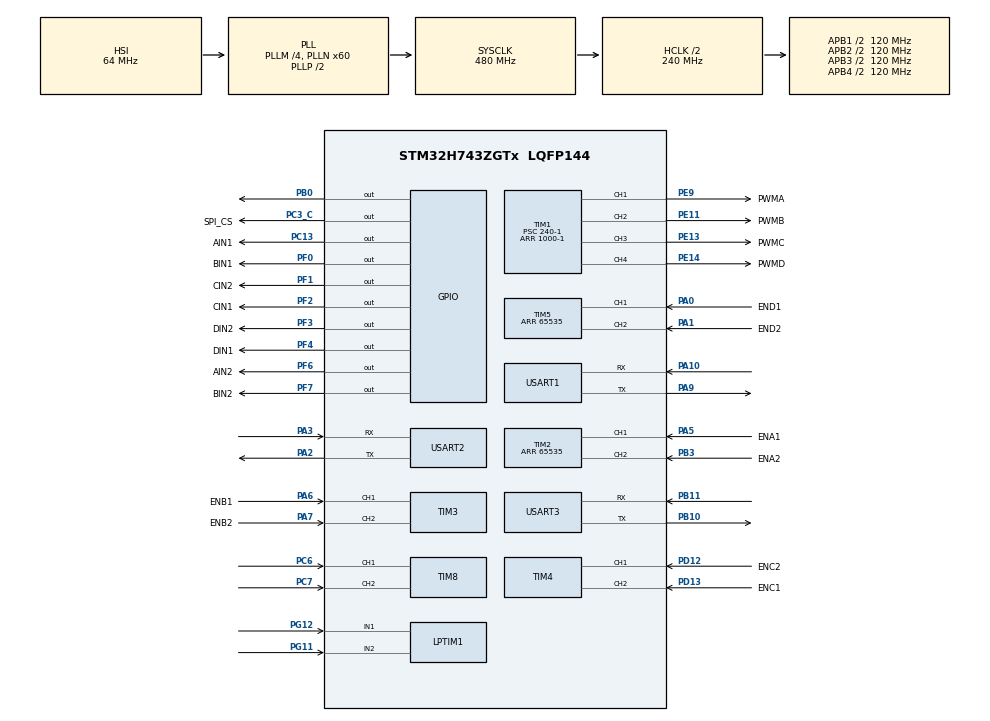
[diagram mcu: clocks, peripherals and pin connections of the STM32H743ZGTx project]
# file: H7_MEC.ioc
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CORTEX_M7.default_mode_Activation=0
Dma.Request0=USART1_RX
Dma.Request1=USART1_TX
Dma.Request2=USART3_RX
Dma.Request3=USART3_TX
Dma.USART1_RX.0.Direction=DMA_PERIPH_TO_MEMORY
Dma.USART1_RX.0.EventEnable=DISABLE
Dma.USART1_RX.0.FIFOMode=DMA_FIFOMODE_DISABLE
Dma.USART1_RX.0.Instance=DMA1_Stream0
Dma.USART1_RX.0.MemDataAlignment=DMA_MDATAALIGN_BYTE
Dma.USART1_RX.0.MemInc=DMA_MINC_ENABLE
Dma.USART1_RX.0.Mode=DMA_NORMAL
Dma.USART1_RX.0.PeriphDataAlignment=DMA_PDATAALIGN_BYTE
Dma.USART1_RX.0.PeriphInc=DMA_PINC_DISABLE
Dma.USART1_RX.0.Polarity=HAL_DMAMUX_REQ_GEN_RISING
Dma.USART1_RX.0.Priority=DMA_PRIORITY_LOW
Dma.USART1_RX.0.RequestNumber=1
Dma.USART1_RX.0.SignalID=NONE
Dma.USART1_RX.0.SyncEnable=DISABLE
Dma.USART1_RX.0.SyncPolarity=HAL_DMAMUX_SYNC_NO_EVENT
Dma.USART1_RX.0.SyncRequestNumber=1
Dma.USART1_RX.0.SyncSignalID=NONE
Dma.USART1_TX.1.Direction=DMA_MEMORY_TO_PERIPH
Dma.USART1_TX.1.EventEnable=DISABLE
Dma.USART1_TX.1.FIFOMode=DMA_FIFOMODE_DISABLE
Dma.USART1_TX.1.Instance=DMA1_Stream1
Dma.USART1_TX.1.MemDataAlignment=DMA_MDATAALIGN_BYTE
Dma.USART1_TX.1.MemInc=DMA_MINC_ENABLE
Dma.USART1_TX.1.Mode=DMA_NORMAL
Dma.USART1_TX.1.PeriphDataAlignment=DMA_PDATAALIGN_BYTE
Dma.USART1_TX.1.PeriphInc=DMA_PINC_DISABLE
Dma.USART1_TX.1.Polarity=HAL_DMAMUX_REQ_GEN_RISING
Dma.USART1_TX.1.Priority=DMA_PRIORITY_LOW
Dma.USART1_TX.1.RequestNumber=1
Dma.USART1_TX.1.SignalID=NONE
Dma.USART1_TX.1.SyncEnable=DISABLE
Dma.USART1_TX.1.SyncPolarity=HAL_DMAMUX_SYNC_NO_EVENT
Dma.USART1_TX.1.SyncRequestNumber=1
Dma.USART1_TX.1.SyncSignalID=NONE
Dma.USART3_RX.2.Direction=DMA_PERIPH_TO_MEMORY
Dma.USART3_RX.2.EventEnable=DISABLE
Dma.USART3_RX.2.FIFOMode=DMA_FIFOMODE_DISABLE
Dma.USART3_RX.2.Instance=DMA2_Stream0
Dma.USART3_RX.2.MemDataAlignment=DMA_MDATAALIGN_BYTE
Dma.USART3_RX.2.MemInc=DMA_MINC_ENABLE
Dma.USART3_RX.2.Mode=DMA_NORMAL
Dma.USART3_RX.2.PeriphDataAlignment=DMA_PDATAALIGN_BYTE
Dma.USART3_RX.2.PeriphInc=DMA_PINC_DISABLE
Dma.USART3_RX.2.Polarity=HAL_DMAMUX_REQ_GEN_RISING
Dma.USART3_RX.2.Priority=DMA_PRIORITY_LOW
Dma.USART3_RX.2.RequestNumber=1
Dma.USART3_RX.2.SignalID=NONE
Dma.USART3_RX.2.SyncEnable=DISABLE
Dma.USART3_RX.2.SyncPolarity=HAL_DMAMUX_SYNC_NO_EVENT
Dma.USART3_RX.2.SyncRequestNumber=1
Dma.USART3_RX.2.SyncSignalID=NONE
Dma.USART3_TX.3.Direction=DMA_MEMORY_TO_PERIPH
Dma.USART3_TX.3.EventEnable=DISABLE
Dma.USART3_TX.3.FIFOMode=DMA_FIFOMODE_DISABLE
Dma.USART3_TX.3.Instance=DMA2_Stream1
Dma.USART3_TX.3.MemDataAlignment=DMA_MDATAALIGN_BYTE
Dma.USART3_TX.3.MemInc=DMA_MINC_ENABLE
Dma.USART3_TX.3.Mode=DMA_NORMAL
Dma.USART3_TX.3.PeriphDataAlignment=DMA_PDATAALIGN_BYTE
Dma.USART3_TX.3.PeriphInc=DMA_PINC_DISABLE
Dma.USART3_TX.3.Polarity=HAL_DMAMUX_REQ_GEN_RISING
Dma.USART3_TX.3.Priority=DMA_PRIORITY_LOW
Dma.USART3_TX.3.RequestNumber=1
Dma.USART3_TX.3.SignalID=NONE
Dma.USART3_TX.3.SyncEnable=DISABLE
Dma.USART3_TX.3.SyncPolarity=HAL_DMAMUX_SYNC_NO_EVENT
Dma.USART3_TX.3.SyncRequestNumber=1
Dma.USART3_TX.3.SyncSignalID=NONE
Mcu.Family=STM32H7
Mcu.Name=STM32H743ZGTx
Mcu.Package=LQFP144
NVIC.DMA1_Stream0_IRQn=true\:0\:0\:false\:false\:true\:false\:true\:true
NVIC.DMA1_Stream1_IRQn=true\:0\:0\:false\:false\:true\:false\:true\:true
NVIC.DMA2_Stream0_IRQn=true\:0\:0\:false\:false\:true\:false\:true\:true
NVIC.DMA2_Stream1_IRQn=true\:0\:0\:false\:false\:true\:false\:true\:true
NVIC.PriorityGroup=NVIC_PRIORITYGROUP_4
NVIC.TIM6_DAC_IRQn=true\:4\:0\:true\:false\:true\:true\:true\:true
NVIC.USART1_IRQn=true\:1\:0\:true\:false\:true\:true\:true\:true
NVIC.USART3_IRQn=true\:1\:0\:true\:false\:true\:true\:true\:true
PA0.GPIO_Label=END1
PA0.Signal=S_TIM5_CH1
PA1.GPIO_Label=END2
PA1.Signal=S_TIM5_CH2
PA10.Mode=Asynchronous
PA10.Signal=USART1_RX
PA13\ (JTMS/SWDIO).Mode=Serial_Wire
PA13\ (JTMS/SWDIO).Signal=DEBUG_JTMS-SWDIO
PA14\ (JTCK/SWCLK).Mode=Serial_Wire
PA14\ (JTCK/SWCLK).Signal=DEBUG_JTCK-SWCLK
PA2.Mode=Asynchronous
PA2.Signal=USART2_TX
PA3.Mode=Asynchronous
PA3.Signal=USART2_RX
PA5.GPIO_Label=ENA1
PA5.Signal=S_TIM2_CH1_ETR
PA6.GPIO_Label=ENB1
PA6.Signal=S_TIM3_CH1
PA7.GPIO_Label=ENB2
PA7.Signal=S_TIM3_CH2
PA9.Mode=Asynchronous
PA9.Signal=USART1_TX
PB0.Signal=GPIO_Output
PB10.Mode=Asynchronous
PB10.Signal=USART3_TX
PB11.Mode=Asynchronous
PB11.Signal=USART3_RX
PB3\ (JTDO/TRACESWO).GPIO_Label=ENA2
PB3\ (JTDO/TRACESWO).Signal=S_TIM2_CH2
PC13.GPIO_Label=AIN1
PC13.Signal=GPIO_Output
PC3_C.GPIO_Label=SPI_CS
PC3_C.GPIO_PuPd=GPIO_NOPULL
PC3_C.Signal=GPIO_Output
PC6.Signal=S_TIM8_CH1
PC7.Signal=S_TIM8_CH2
PD12.GPIO_Label=ENC2
PD12.Signal=S_TIM4_CH1
PD13.GPIO_Label=ENC1
PD13.Signal=S_TIM4_CH2
PE11.GPIO_Label=PWMB
PE11.Signal=S_TIM1_CH2
PE13.GPIO_Label=PWMC
PE13.Signal=S_TIM1_CH3
PE14.GPIO_Label=PWMD
PE14.Signal=S_TIM1_CH4
PE9.GPIO_Label=PWMA
PE9.Signal=S_TIM1_CH1
PF0.GPIO_Label=BIN1
PF0.Signal=GPIO_Output
PF1.GPIO_Label=CIN2
PF1.Signal=GPIO_Output
PF2.GPIO_Label=CIN1
PF2.Signal=GPIO_Output
PF3.GPIO_Label=DIN2
PF3.Signal=GPIO_Output
PF4.GPIO_Label=DIN1
PF4.Signal=GPIO_Output
PF6.GPIO_Label=AIN2
PF6.Signal=GPIO_Output
PF7.GPIO_Label=BIN2
PF7.Signal=GPIO_Output
PG11.Mode=Encoder_mode_occur1
PG11.Signal=LPTIM1_IN2
PG12.Mode=Encoder_mode_occur1
PG12.Signal=LPTIM1_IN1
PH0-OSC_IN\ (PH0).Mode=HSE-External-Oscillator
PH0-OSC_IN\ (PH0).Signal=RCC_OSC_IN
PH1-OSC_OUT\ (PH1).Mode=HSE-External-Oscillator
PH1-OSC_OUT\ (PH1).Signal=RCC_OSC_OUT
ProjectManager.HeapSize=0x200
ProjectManager.StackSize=0x400
ProjectManager.TargetToolchain=CMake
RCC.ADCFreq_Value=129000000
RCC.APB1Freq_Value=120000000
RCC.APB2Freq_Value=120000000
RCC.APB3Freq_Value=120000000
RCC.APB4Freq_Value=120000000
RCC.CortexFreq_Value=480000000
RCC.D1PPRE=RCC_APB3_DIV2
RCC.D2PPRE1=RCC_APB1_DIV2
RCC.D2PPRE2=RCC_APB2_DIV2
RCC.D3PPRE=RCC_APB4_DIV2
RCC.DIVM1=4
RCC.DIVN1=60
RCC.DIVQ1=5
RCC.HCLKFreq_Value=240000000
RCC.HPRE=RCC_HCLK_DIV2
RCC.PLL2FRACN=0
RCC.PLL3FRACN=0
RCC.PLLFRACN=0
RCC.SYSCLKFreq_VALUE=480000000
RCC.SYSCLKSource=RCC_SYSCLKSOURCE_PLLCLK
RCC.USBFreq_Value=192000000
SH.S_TIM1_CH1.0=TIM1_CH1,PWM Generation1 CH1
SH.S_TIM1_CH2.0=TIM1_CH2,PWM Generation2 CH2
SH.S_TIM1_CH3.0=TIM1_CH3,PWM Generation3 CH3
SH.S_TIM1_CH4.0=TIM1_CH4,PWM Generation4 CH4
SH.S_TIM2_CH1_ETR.0=TIM2_CH1,Encoder_Interface
SH.S_TIM2_CH2.0=TIM2_CH2,Encoder_Interface
SH.S_TIM3_CH1.0=TIM3_CH1,Encoder_Interface
SH.S_TIM3_CH2.0=TIM3_CH2,Encoder_Interface
SH.S_TIM4_CH1.0=TIM4_CH1,Encoder_Interface
SH.S_TIM4_CH2.0=TIM4_CH2,Encoder_Interface
SH.S_TIM5_CH1.0=TIM5_CH1,Encoder_Interface
SH.S_TIM5_CH2.0=TIM5_CH2,Encoder_Interface
SH.S_TIM8_CH1.0=TIM8_CH1,Encoder_Interface
SH.S_TIM8_CH2.0=TIM8_CH2,Encoder_Interface
TIM1.Channel-PWM\ Generation1\ CH1=TIM_CHANNEL_1
TIM1.Channel-PWM\ Generation2\ CH2=TIM_CHANNEL_2
TIM1.Channel-PWM\ Generation3\ CH3=TIM_CHANNEL_3
TIM1.Channel-PWM\ Generation4\ CH4=TIM_CHANNEL_4
TIM1.Period=1000-1
TIM1.Prescaler=240-1
TIM2.EncoderMode=TIM_ENCODERMODE_TI12
TIM2.Period=65535
TIM3.EncoderMode=TIM_ENCODERMODE_TI12
TIM4.EncoderMode=TIM_ENCODERMODE_TI12
TIM5.EncoderMode=TIM_ENCODERMODE_TI12
TIM5.Period=65535
TIM6.Period=10000-1
TIM6.Prescaler=240-1
TIM8.EncoderMode=TIM_ENCODERMODE_TI12
USART1.VirtualMode-Asynchronous=VM_ASYNC
USART2.VirtualMode-Asynchronous=VM_ASYNC
USART3.VirtualMode-Asynchronous=VM_ASYNC
VP_MEMORYMAP_VS_MEMORYMAP.Mode=CurAppReg
VP_TIM6_VS_ClockSourceINT.Mode=Enable_Timer
board=custom

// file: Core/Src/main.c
/* USER CODE BEGIN Header */
/**
  ******************************************************************************
  * @file           : main.c
  * @brief          : Main program body
  ******************************************************************************
  * @attention
  *
  * Copyright (c) 2025 STMicroelectronics.
  * All rights reserved.
  *
  * This software is licensed under terms that can be found in the LICENSE file
  * in the root directory of this software component.
  * If no LICENSE file comes with this software, it is provided AS-IS.
  *
  ******************************************************************************
  */
/* USER CODE END Header */
#include "main.h"
#include "dma.h"
#include "lptim.h"
#include "memorymap.h"
#include "tim.h"
#include "usart.h"
#include "gpio.h"

/* USER CODE BEGIN Includes */
#include <stdbool.h>
#include <stdio.h>
#include <string.h>

#include "filter.h"
#include "control.h"
#include "driver.h"
#include "motion/motion_types.h"
/* USER CODE END Includes */

/* USER CODE BEGIN PTD */
typedef struct {
  float x;
  float y;
  float z;
} Speed;
/* USER CODE END PTD */

/* USER CODE BEGIN PD */
#define  Car_H  18.525
#define  Car_W  11.02
/* USER CODE END PD */

/* USER CODE BEGIN PV */

extern PID_LocTypeDef Motor_A_PID;
extern PID_LocTypeDef Motor_B_PID;
extern PID_LocTypeDef Motor_C_PID;
extern PID_LocTypeDef Motor_D_PID;

char speed_rx_buffer[4096]__attribute__((section(".out")));
char flow_rx_buffer[4096]__attribute__((section(".out")));
char imu_rx_buffer[4096]__attribute__((section(".out")));

char speed_data_buffer[4096];
char flow_data_buffer[4096];
char imu_data_buffer[4096];

const float ENCODER_RESOLUTION_AB = 500.0f * 4.0f*30.f;
const float ENCODER_RESOLUTION_CD = 13.0f * 4.0f*30.f;
const float ENCODER_RESOLUTION_XY = 4.0f * 1024.0f;
const float METERS_PER_PULSE_AB = (wheel * 3.1415926535f) / ENCODER_RESOLUTION_AB;//单位cm
const float METERS_PER_PULSE_CD = (wheel * 3.1415926535f) / ENCODER_RESOLUTION_CD;//单位cm
const float METERS_PER_PULSE_XY = (wheel_encoder * 3.1415926535f) / ENCODER_RESOLUTION_XY;//单位cm
Speed_Data Speed_Data_A,Speed_Data_B,Speed_Data_C,Speed_Data_D;

// 新加的正交编码器
Speed_Data Speed_X, Speed_Y;
float last_angle_z = 0.0f; // 上一次的角度
float rotation_speed_x, rotation_speed_y;
float r_y = 10.63f, r_x = 18.3f; // 编码轮到质心的距离 cm
float w ;

Speed Speed_car, Position_car, Imu_Speed;

KalmanFilter speed_x, speed_y, acc_x, acc_y, angle_z;
KalmanFilter flow_x, flow_y;
float cur_flow_x, cur_flow_y;

float Motor_A_Set,Motor_B_Set,Motor_C_Set,Motor_D_Set;

float z_target = PI * 0.5f;

float position_target_x = 0, position_target_y = 0;

// jy62
sensor_data_fifo_s accel_data, gyro_data, angle_data;
float accx,accy;

/* USER CODE END PV */

void SystemClock_Config(void);

/* USER CODE BEGIN 0 */
// 整车移动量转换为单轮速度  x:�?????????????+�?????????????-  y:�?????????????+�?????????????-  z:�?????????????+�?????????????-
void Move_Transform(double Vx,double Vy,double Vz)
{
  Motor_C_Set=Vx+Vy-Vz*(Car_H/2+Car_W/2);
  Motor_A_Set=Vx-Vy-Vz*(Car_H/2+Car_W/2);
  Motor_B_Set=Vx+Vy+Vz*(Car_H/2+Car_W/2);
  Motor_D_Set=Vx-Vy+Vz*(Car_H/2+Car_W/2);
}
/* USER CODE END 0 */

int main(void)
{

  /* MCU Configuration--------------------------------------------------------*/

  /* Reset of all peripherals, Initializes the Flash interface and the Systick. */
  HAL_Init();

  /* Configure the system clock */
  SystemClock_Config();

  /* Initialize all configured peripherals */
  MX_GPIO_Init();
  MX_DMA_Init();
  MX_TIM1_Init();
  MX_TIM2_Init();
  MX_TIM3_Init();
  MX_TIM4_Init();
  MX_TIM5_Init();
  MX_TIM6_Init();
  MX_USART1_UART_Init();
  MX_USART3_UART_Init();
  MX_LPTIM1_Init();
  MX_TIM8_Init();
  MX_USART2_UART_Init();
  /* USER CODE BEGIN 2 */

  HAL_TIM_Encoder_Start(&htim2, TIM_CHANNEL_ALL);
  HAL_TIM_Encoder_Start(&htim3, TIM_CHANNEL_ALL);
  HAL_TIM_Encoder_Start(&htim4, TIM_CHANNEL_ALL);
  HAL_TIM_Encoder_Start(&htim5, TIM_CHANNEL_ALL);

  HAL_TIM_Encoder_Start(&htim8, TIM_CHANNEL_ALL);
  HAL_LPTIM_Counter_Start_IT(&hlptim1, 0xFFFF);

  HAL_TIM_PWM_Start(&htim1, TIM_CHANNEL_1);
  HAL_TIM_PWM_Start(&htim1, TIM_CHANNEL_2);
  HAL_TIM_PWM_Start(&htim1, TIM_CHANNEL_3);
  HAL_TIM_PWM_Start(&htim1, TIM_CHANNEL_4);

  HAL_TIM_Base_Start_IT(&htim6);

  // fusion_init();
  // extern icm42688_st icm42688_data;
  // icm42688_init();

  //imu init
  angle_data.dt = 0.01f;
  angle_data.scale = 1.0f;
  angle_data.samples = 0;
  gyro_data.dt = 0.01f;
  gyro_data.scale = 1.0f;
  gyro_data.samples = 0;
  accel_data.dt = 0.01f;
  accel_data.scale = 1.0f;
  accel_data.samples = 0;

  angle_data.scale = 1.0 / 32768.0f * 180.0f;//degree
  gyro_data.scale = 1.0 / 32768.0f * 2000.0f;//dps
  accel_data.scale = 1.0 / 32768.0f * 16.0f * 9.8f * 100.0f;//cm/s^2

  memset(imu_rx_buffer, 0, sizeof(imu_rx_buffer));

  char z_cali[3] = {0xff,0xaa,0x52};
  // z归零
  HAL_UART_Transmit(&huart3, (uint8_t *)z_cali, sizeof(z_cali), HAL_MAX_DELAY);
  z_cali[2] = 0x67;
  // acc校准
  HAL_UART_Transmit(&huart3, (uint8_t *)z_cali, sizeof(z_cali), HAL_MAX_DELAY);

  //

  Position_car.x = 0;
  Position_car.y = 0;
  Position_car.z = 0;

  Imu_Speed.x = 0;
  Imu_Speed.y = 0;

  kalman_filter_init(&speed_x, 0.01, 0.2);
  kalman_filter_init(&speed_y, 0.01, 0.2);

  kalman_filter_init(&flow_x, 0.01, 0.2);
  kalman_filter_init(&flow_y, 0.01, 0.2);

  kalman_filter_init(&acc_x, 0.01, 0.5);
  kalman_filter_init(&acc_y, 0.01, 0.5);
  kalman_filter_init(&angle_z, 0.01, 0.5);

  // HAL_UART_Receive_IT(&huart1, (uint8_t *)&rx, sizeof(char));
  HAL_UARTEx_ReceiveToIdle_DMA(&huart3,imu_rx_buffer,2048);
  HAL_UARTEx_ReceiveToIdle_DMA(&huart2,flow_rx_buffer,2048);
  HAL_UARTEx_ReceiveToIdle_DMA(&huart1,speed_rx_buffer,2048);
  /* USER CODE END 2 */

  /* Infinite loop */
  /* USER CODE BEGIN WHILE */
  SetMotor(MOTOR_A, 0);
  SetMotor(MOTOR_B, 0);
  SetMotor(MOTOR_C, 0);
  SetMotor(MOTOR_D, 0);

  // Move_Transform(0,0,PI/2);
  // Move_Transform(5,0,0);
  // Move_Transform(10,10*sqrt(3),0);

  while (1)
  {
    // icm42688_get_gyro();
    // icm42688_get_acc();
    char msg[30];
    // sprintf(msg, "%d,%d,%d,%d,%d,%d\r\n", (int)(Speed_Data_A.speed), (int)(Speed_Data_B.speed), (int)(Speed_Data_C.speed), (int)(Speed_Data_D.speed)
    //   , (int)(Motor_A_PID.er*10), (int)Motor_A_PID.LocSum);

    // sprintf(msg,"%d,%d,%d,%d,%d,%d\r\n", icm42688_data.acc_x, icm42688_data.acc_y, icm42688_data.acc_z,
    //         icm42688_data.gyro_x, icm42688_data.gyro_y, icm42688_data.gyro_z);

    // sprintf(msg, "%d,%d %d\r\n", (int)(Position_car.x*100), (int)(Position_car.y*100), (int)((float)angle_data.z[0] * angle_data.scale * 10));
    // sprintf(msg, "%d,%d,%d,%d \r\n", (int)(Speed_car.x*100), (int)(Speed_car.y*100), (int)(Speed_car.z*100),(int)(Position_car.y*100));

    // sprintf(msg, "%d %d %d %d %d \r\n", (int)(Position_car.x*100), (int)(Position_car.y*100), (int)(Position_car.z*100), (int)(Imu_Speed.x * 100), (int)(gyro_data.z[0] * gyro_data.scale * 10));
    // sprintf(msg, "%d %d %d %d %d \r\n", (int)(Position_car.x*100), (int)(Position_car.y*100), (int)(Position_car.z*100), (int)(w*100), (int)(Speed_car.x * 100));
    sprintf(msg, "%d %d %d\r\n", (int)(Position_car.x*100), (int)(Position_car.y*100), (int)(Position_car.z*100));
    // sprintf(msg, "%d %d %d %d %d %d\r\n", (int)(Position_car.x*100), (int)(Position_car.y*100), (int)(Position_car.z*100), (int)(position_target_x*100), (int)(position_target_y*100), (int)(z_target*1000));

    // sprintf(msg, "%d %d %d \r\n", (int)(Speed_car.x*100), (int)(accx * 100), (int)(accy*100));

    // sprintf(msg, "%d,%d \r\n", (int)(Speed_X.speed*100), (int)(Speed_Y.speed*100));
    // sprintf(msg, "%d,%d \r\n", TIM8->CNT,
    //         TIM3->CNT);

    // sprintf(msg, "%d \r\n", Speed_Data_1.current_count);
    HAL_UART_Transmit(&huart1, msg, strlen(msg), HAL_MAX_DELAY);
    HAL_Delay(20);
    /* USER CODE END WHILE */

  }
}

void SystemClock_Config(void)
{
  RCC_OscInitTypeDef RCC_OscInitStruct = {0};
  RCC_ClkInitTypeDef RCC_ClkInitStruct = {0};

  /** Supply configuration update enable
  */
  HAL_PWREx_ConfigSupply(PWR_LDO_SUPPLY);

  /** Configure the main internal regulator output voltage
  */
  __HAL_PWR_VOLTAGESCALING_CONFIG(PWR_REGULATOR_VOLTAGE_SCALE1);

  while(!__HAL_PWR_GET_FLAG(PWR_FLAG_VOSRDY)) {}

  __HAL_RCC_SYSCFG_CLK_ENABLE();
  __HAL_PWR_VOLTAGESCALING_CONFIG(PWR_REGULATOR_VOLTAGE_SCALE0);

  while(!__HAL_PWR_GET_FLAG(PWR_FLAG_VOSRDY)) {}

  /** Initializes the RCC Oscillators according to the specified parameters
  * in the RCC_OscInitTypeDef structure.
  */
  RCC_OscInitStruct.OscillatorType = RCC_OSCILLATORTYPE_HSI;
  RCC_OscInitStruct.HSIState = RCC_HSI_DIV1;
  RCC_OscInitStruct.HSICalibrationValue = RCC_HSICALIBRATION_DEFAULT;
  RCC_OscInitStruct.PLL.PLLState = RCC_PLL_ON;
  RCC_OscInitStruct.PLL.PLLSource = RCC_PLLSOURCE_HSI;
  RCC_OscInitStruct.PLL.PLLM = 4;
  RCC_OscInitStruct.PLL.PLLN = 60;
  RCC_OscInitStruct.PLL.PLLP = 2;
  RCC_OscInitStruct.PLL.PLLQ = 5;
  RCC_OscInitStruct.PLL.PLLR = 2;
  RCC_OscInitStruct.PLL.PLLRGE = RCC_PLL1VCIRANGE_3;
  RCC_OscInitStruct.PLL.PLLVCOSEL = RCC_PLL1VCOWIDE;
  RCC_OscInitStruct.PLL.PLLFRACN = 0;
  if (HAL_RCC_OscConfig(&RCC_OscInitStruct) != HAL_OK)
  {
    Error_Handler();
  }

  /** Initializes the CPU, AHB and APB buses clocks
  */
  RCC_ClkInitStruct.ClockType = RCC_CLOCKTYPE_HCLK|RCC_CLOCKTYPE_SYSCLK
                              |RCC_CLOCKTYPE_PCLK1|RCC_CLOCKTYPE_PCLK2
                              |RCC_CLOCKTYPE_D3PCLK1|RCC_CLOCKTYPE_D1PCLK1;
  RCC_ClkInitStruct.SYSCLKSource = RCC_SYSCLKSOURCE_PLLCLK;
  RCC_ClkInitStruct.SYSCLKDivider = RCC_SYSCLK_DIV1;
  RCC_ClkInitStruct.AHBCLKDivider = RCC_HCLK_DIV2;
  RCC_ClkInitStruct.APB3CLKDivider = RCC_APB3_DIV2;
  RCC_ClkInitStruct.APB1CLKDivider = RCC_APB1_DIV2;
  RCC_ClkInitStruct.APB2CLKDivider = RCC_APB2_DIV2;
  RCC_ClkInitStruct.APB4CLKDivider = RCC_APB4_DIV2;

  if (HAL_RCC_ClockConfig(&RCC_ClkInitStruct, FLASH_LATENCY_4) != HAL_OK)
  {
    Error_Handler();
  }
}

/* USER CODE BEGIN 4 */
void update_speed(Speed_Data* speed, int tim, float mpp) {

  if (tim == 1) {
      speed->current_count = TIM3->CNT;
  }else if (tim == 2) {
      speed->current_count = TIM2->CNT;
  }else if (tim == 3) {
      speed->current_count = TIM5->CNT;
  }else if (tim == 4) {
      speed->current_count = TIM4->CNT;
  }else if (tim == 5) {
      speed->current_count = TIM8->CNT;
  }else if (tim == 8) {
      speed->current_count = LPTIM1->CNT;
  }

  // speed->current_count = tim.CNT;

  speed->delta_pulses = (speed->current_count - speed->encoder_count_prev);
  speed->encoder_count_prev = speed->current_count;
  //防止计数器超�??????????????????65535
  if(speed->delta_pulses>60000)speed->delta_pulses-=65535;
  if(speed->delta_pulses<-60000)speed->delta_pulses+=65535;
  //计算距离
  speed->delta_distance =  speed->delta_pulses* mpp;
  float dt =0.01;//
  //计算车鿿
  speed->speed = speed->delta_distance / dt;
  speed->distance += speed->delta_distance ;
}

void Speed_PID() {
  // PID_output(Motor_A_Set, Speed_Data_A.speed, &Motor_A_PID, 5000);
  // PID_output(Motor_B_Set, Speed_Data_B.speed, &Motor_B_PID, 5000);
  // PID_output(Motor_C_Set, Speed_Data_C.speed, &Motor_C_PID, 5000);
  // PID_output(Motor_D_Set, Speed_Data_D.speed, &Motor_D_PID, 5000);

  PID_output_2(Motor_A_Set, Speed_Data_A.speed, &Motor_A_PID, 5000);
  PID_output_2(Motor_B_Set, Speed_Data_B.speed, &Motor_B_PID, 5000);
  PID_output_2(Motor_C_Set, Speed_Data_C.speed, &Motor_C_PID, 5000);
  PID_output_2(Motor_D_Set, Speed_Data_D.speed, &Motor_D_PID, 5000);

  // SetMotor(MOTOR_A, (int)Motor_A_PID.output);
  // SetMotor(MOTOR_B, (int)Motor_B_PID.output);
  // SetMotor(MOTOR_C, (int)Motor_C_PID.output);
  // SetMotor(MOTOR_D, (int)Motor_D_PID.output);

  SetMotor(MOTOR_A, Motor_A_Set);
  SetMotor(MOTOR_B, Motor_B_Set);
  SetMotor(MOTOR_C, Motor_C_Set);
  SetMotor(MOTOR_D, Motor_D_Set);
}

void Position_Transform(double Va,double Vb,double Vc,double Vd)
{
  float tmp_vx = (Va + Vb + Vc + Vd) / 4.0;
  float tmp_vy = (-Va + Vb + Vc - Vd) / 4.0;
  Speed_car.x = kalman_filter_update(&speed_x, tmp_vx);
  Speed_car.y = kalman_filter_update(&speed_y, tmp_vy);
  Speed_car.z = 1.0f/4.0f*(-Va+Vb-Vc+Vd)/(Car_H+Car_W);
}

void Speed_Int(double dt) {
  // Position_Transform(Speed_Data_A.speed, Speed_Data_B.speed, Speed_Data_C.speed, Speed_Data_D.speed);
  //
  // float ratio = 0.6;
  // float tmp_x = Speed_car.x * ratio + (Imu_Speed.x - 0.1) * (1-ratio);
  // float tmp_y = Speed_car.y * ratio + (Imu_Speed.y + 0.115) * (1-ratio);
  // Speed_car.x = tmp_x;
  // Speed_car.y = tmp_y;
  // Imu_Speed.x = tmp_x;
  // Imu_Speed.y = tmp_y;

  // Speed_car.x = Speed_X.speed;
  // Speed_car.y = Speed_Y.speed;
  // 不用正交编码器， 用光流
  Speed_car.x = cur_flow_x;
  Speed_car.y = cur_flow_y;

  // Position_car.z += Speed_car.z*dt;
  // float tmp_angle_z = kalman_filter_update(&angle_z, angle_data.z[0] * angle_data.scale * 3.1415926535f / 180.0f);
  float tmp_angle_z = angle_data.z[0] * angle_data.scale * 3.1415926535f / 180.0f + PI * 0.5f;
  if (tmp_angle_z > 2.0f * PI) tmp_angle_z -= 2.0f * PI;
  Position_car.z = tmp_angle_z; // 角度转弧度

  if (tmp_angle_z - last_angle_z > PI) {
    last_angle_z += 2*PI;
  } else if (tmp_angle_z - last_angle_z < -PI) {
    last_angle_z -= 2*PI;
  }
  w = (tmp_angle_z - last_angle_z)/dt;
  last_angle_z = tmp_angle_z;
  rotation_speed_x = w * r_x ;
  rotation_speed_y = w * r_y;

  Speed_car.x -= rotation_speed_x;
  Speed_car.y -= rotation_speed_y;

  if (isnan(Position_car.x)) Position_car.x = 0;
  if (isnan(Position_car.y)) Position_car.y = 0;

  Position_car.x += (Speed_car.x*cosf(Position_car.z)+Speed_car.y*sinf(Position_car.z))*dt;
  Position_car.y += (-Speed_car.x*sinf(Position_car.z)+Speed_car.y*cosf(Position_car.z))*dt;
}

void Imu_Speed_Int(float dt) {
  float speed_x = kalman_filter_update(&acc_x, accel_data.y[0] * accel_data.scale);
  float speed_y = kalman_filter_update(&acc_y, accel_data.x[0] * accel_data.scale);

  speed_x += 10.2;
  speed_y += -11.6;

  accy = speed_y;
  accx = speed_x;
  Imu_Speed.x += speed_x * dt;
  Imu_Speed.y += speed_y * dt;
}

int string2int(int start, int end) {
  int result = 0;
  if (speed_data_buffer[start] == '-') {
    start++;
    while (start < end && speed_data_buffer[start] == '0') start++;
    return -string2int(start, end);
  }
  for (int i = start; i <= end; i++) {
    if (speed_data_buffer[i] >= '0' && speed_data_buffer[i] <= '9') {
      result = result * 10 + (speed_data_buffer[i] - '0');
    }
  }
  return result;
}

double motor_speed_x, motor_speed_y, motor_speed_z;
void SpeedHandler() {
    // HAL_UART_Transmit(&huart1, (uint8_t *)data_buffer, strlen(data_buffer), HAL_MAX_DELAY);
  int idx0 = 0;
  while (speed_data_buffer[idx0] != ':') idx0++;
  int idx1 = idx0 + 1;
  while (speed_data_buffer[idx1] != ',') idx1++;
  int idx2 = idx1 + 1;
  while (speed_data_buffer[idx2] != ',') idx2++;
  int idx3 = idx2 + 1;
  while ((speed_data_buffer[idx3] != '\r')&&(speed_data_buffer[idx3] !='\n')) idx3++;

  // motor_speed_y = -string2int(idx0+1, idx1-1) / 17.50;
  // motor_speed_x = string2int(idx1+1, idx2-1) / 17.50;
  motor_speed_y = -string2int(idx0+1, idx1-1) / 1.50;
  motor_speed_x = string2int(idx1+1, idx2-1) / 1.50;
  z_target += string2int(idx2+1, idx3-1) / 1000.0; // 0.01 rad/s
  if (z_target > 2.0f * PI) z_target -= 2.0f * PI;
  if (z_target < 0) z_target += 2.0f * PI;

}

void PositionHandler() {
  int idx0 = 0;
  while (speed_data_buffer[idx0] != ':') idx0++;
  int idx1 = idx0 + 1;
  while (speed_data_buffer[idx1] != ',') idx1++;
  int idx2 = idx1 + 1;
  while ((speed_data_buffer[idx2] != '\r')&&(speed_data_buffer[idx2] !='\n')) idx2++;

  position_target_y = string2int(idx0+1, idx1-1) / 100.0;
  position_target_x = string2int(idx1+1, idx2-1) / 100.0;

}

bool verify_imu_data(int start) {
  char tmp = 0;
  for (int i=0; i<10; i++) {
    tmp += imu_data_buffer[start+i];
  }
  return tmp == imu_data_buffer[start+10];
}

int16_t parse_tmp[3] = {0};
void parse_imu_data(sensor_data_fifo_s* data, int start) {

  for (int i=0;i<3;i++) {

    int16_t tmp1 = imu_data_buffer[start+2+i*2];
    int16_t tmp2 = imu_data_buffer[start+3+i*2];
    int16_t tmp3 = tmp2<<8 | tmp1;

    parse_tmp[i] = imu_data_buffer[start+3+i*2] << 8 | imu_data_buffer[start+2+i*2];
  }

  data->x[data->samples] = parse_tmp[0];
  data->y[data->samples] = parse_tmp[1];
  data->z[data->samples] = parse_tmp[2];
  data->samples++;

}

void ImuHandler(uint16_t size) {

  accel_data.samples = 0;
  gyro_data.samples = 0;
  angle_data.samples = 0;

  int max_size = (size > 10)?size-10:size;
  for (int i=0; i<max_size; i++) {
    if ((uint16_t)imu_data_buffer[i] == 85) {
      if (verify_imu_data(i)) {
        if (imu_data_buffer[i+1] == 0x51) {
          //加�?�度
          parse_imu_data(&accel_data, i);
        }
        else if (imu_data_buffer[i+1] == 0x52) {
          //角�?�度
          parse_imu_data(&gyro_data, i);
        }
        else if (imu_data_buffer[i+1] == 0x53) {
          //角度
          parse_imu_data(&angle_data, i);
        }
      }
    }
  }
}

bool data_flag = false;

void CheckPosition() {
  float distance = sqrtf(powf(Position_car.x - position_target_x, 2) + powf(Position_car.y - position_target_y, 2));
  if (distance < 6) {
    motor_speed_x = 0;
  } else {
    motor_speed_x = 300;
    z_target = atan2(position_target_x - Position_car.x, position_target_y - Position_car.y);
  }
}

void HAL_TIM_PeriodElapsedCallback(TIM_HandleTypeDef *htim)
{
  if (htim->Instance==TIM6) {

      // if (data_flag) S peedHandler(),data_flag = false;
      if (data_flag) PositionHandler(),data_flag = false;
      CheckPosition();

      update_speed(&Speed_Data_A, 1, METERS_PER_PULSE_AB);
      update_speed(&Speed_Data_B, 2, METERS_PER_PULSE_AB);
      update_speed(&Speed_Data_C, 3, METERS_PER_PULSE_CD);
      update_speed(&Speed_Data_D, 4, METERS_PER_PULSE_CD);

    // 新加的正交编码器
    // 原来的闭环关掉了， lptim不好使， 直接用原来的tim做正交的编码器

    // 正交编码器拆了，现在用光流
      // update_speed(&Speed_X, 1, METERS_PER_PULSE_XY);
      // update_speed(&Speed_Y, 5, METERS_PER_PULSE_XY);
      Speed_Y.speed *= -1.0f; // 反向

      Imu_Speed_Int(0.01f);

      // Speed_Int(0.01f);
      // 在光流回调中积分

      Speed_PID();

      // float P = -6.0f;
      // float D = -7.0;
      float P = -26.0f;
      float D = -30.0;
      // if (Position_car.z > 0.1) motor_speed_z = Position_car.z * P + gyro_data.z[0] * gyro_data.scale * D;

      if (Position_car.z - z_target > PI) Position_car.z -= 2.0f * PI;
      if (Position_car.z - z_target < -PI) Position_car.z += 2.0f * PI;

      if (fabs(Position_car.z - z_target) > 0.06)motor_speed_z = (Position_car.z - z_target) * P + (abs((Position_car.z - z_target))) * (Position_car.z - z_target) * D;
      else motor_speed_z = 0;
      if (motor_speed_z > 30)motor_speed_z = 30;
      if (motor_speed_z < -30)motor_speed_z = -30;
      Move_Transform(motor_speed_x, motor_speed_y, motor_speed_z);
  }
}

#define FLOW_HEIGHT 5.0f // cm

void FlowInt(uint16_t dx, uint16_t dy, uint16_t dt) {
  float tmp_speed_x = dx / 10000. * FLOW_HEIGHT / (float)dt;
  float tmp_speed_y = dy / 10000. * FLOW_HEIGHT / (float)dt;
  cur_flow_x = kalman_filter_update(&flow_x, tmp_speed_x);
  cur_flow_y = kalman_filter_update(&flow_y, tmp_speed_y);
  // dt单位是ms，转换为s
  Speed_Int((double)dt / 1000000.0);
}

void FlowHandler(uint16_t size) {
  for (int i=0; i<size-10; i++) {
    if ((uint16_t)flow_data_buffer[i] == 0xFE && (uint16_t)flow_data_buffer[i+1] == 0x0A && (uint16_t)flow_data_buffer[i+10] == 0xF5) {
      i+=2;
      uint16_t flow_x = (flow_data_buffer[i + 1] << 8) | flow_data_buffer[i];
      uint16_t flow_y = (flow_data_buffer[i + 3] << 8) | flow_data_buffer[i + 2];
      uint16_t flow_t = (flow_data_buffer[i + 5] << 8) | flow_data_buffer[i + 4];
      FlowInt(flow_x, flow_y, flow_t);
    }
  }
}

void HAL_UARTEx_RxEventCallback(UART_HandleTypeDef *huart, uint16_t Size) {
  if (huart->Instance == USART1) {
    strcpy(speed_data_buffer, speed_rx_buffer);
    data_flag = true;
    memset(speed_rx_buffer, 0, sizeof(speed_rx_buffer));
  }
  if (huart->Instance == USART2) {
    strcpy(flow_data_buffer, flow_rx_buffer);
    FlowHandler(Size);
    memset(flow_rx_buffer, 0, sizeof(flow_rx_buffer));
  }
  if (huart->Instance == USART3) {
    memcpy(imu_data_buffer, imu_rx_buffer, Size);
    ImuHandler(55);
    memset(imu_rx_buffer, 0, sizeof(imu_rx_buffer));
  }
}

/* USER CODE END 4 */

void Error_Handler(void)
{
  __disable_irq();
  while (1)
  {
  }
}
